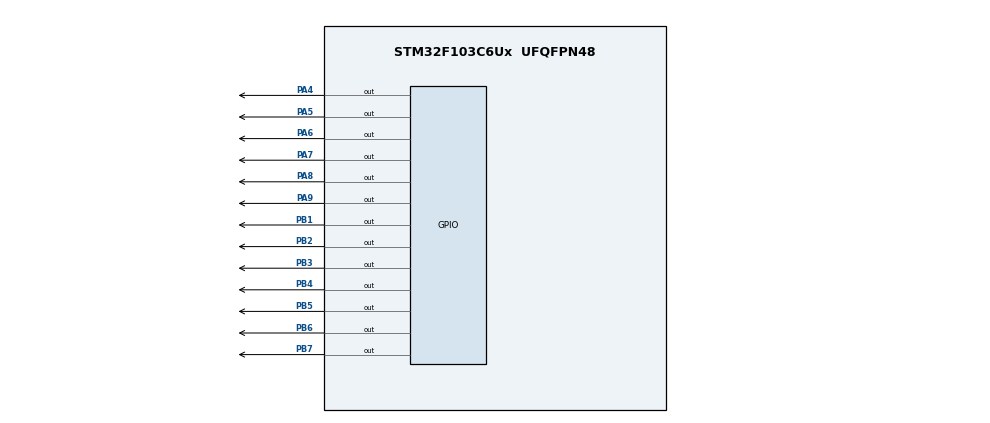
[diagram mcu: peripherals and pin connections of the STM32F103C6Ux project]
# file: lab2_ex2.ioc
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Mcu.Family=STM32F1
Mcu.Name=STM32F103C6Ux
Mcu.Package=UFQFPN48
NVIC.PriorityGroup=NVIC_PRIORITYGROUP_4
NVIC.TIM2_IRQn=true\:0\:0\:false\:false\:true\:true\:true
PA4.Signal=GPIO_Output
PA5.Signal=GPIO_Output
PA6.Signal=GPIO_Output
PA7.Signal=GPIO_Output
PA8.Signal=GPIO_Output
PA9.Signal=GPIO_Output
PB1.Signal=GPIO_Output
PB2.Signal=GPIO_Output
PB3.Signal=GPIO_Output
PB4.Signal=GPIO_Output
PB5.Signal=GPIO_Output
PB6.Signal=GPIO_Output
PB7.Signal=GPIO_Output
ProjectManager.HeapSize=0x200
ProjectManager.StackSize=0x400
ProjectManager.TargetToolchain=STM32CubeIDE
RCC.APB1Freq_Value=8000000
RCC.APB2Freq_Value=8000000
TIM2.Period=9
TIM2.Prescaler=7999
VP_SYS_VS_ND.Mode=No_Debug
VP_TIM2_VS_ClockSourceINT.Mode=Internal
board=custom

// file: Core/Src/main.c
/* USER CODE BEGIN Header */
/**
  ******************************************************************************
  * @file           : main.c
  * @brief          : Main program body
  ******************************************************************************
  * @attention
  *
  * <h2><center>&copy; Copyright (c) 2022 STMicroelectronics.
  * All rights reserved.</center></h2>
  *
  * This software component is licensed by ST under BSD 3-Clause license,
  * the "License"; You may not use this file except in compliance with the
  * License. You may obtain a copy of the License at:
  *                        opensource.org/licenses/BSD-3-Clause
  *
  ******************************************************************************
  */
/* USER CODE END Header */
#include "main.h"

TIM_HandleTypeDef htim2;

void SystemClock_Config(void);
static void MX_GPIO_Init(void);
static void MX_TIM2_Init(void);

int main(void)
{

  /* MCU Configuration--------------------------------------------------------*/

  /* Reset of all peripherals, Initializes the Flash interface and the Systick. */
  HAL_Init();

  /* Configure the system clock */
  SystemClock_Config();

  /* Initialize all configured peripherals */
  MX_GPIO_Init();
  MX_TIM2_Init();

  /* USER CODE BEGIN 2 */
  HAL_TIM_Base_Start_IT (& htim2 );
  /* USER CODE END 2 */

  /* Infinite loop */
  while (1)
  {

  }
}

void SystemClock_Config(void)
{
  RCC_OscInitTypeDef RCC_OscInitStruct = {0};
  RCC_ClkInitTypeDef RCC_ClkInitStruct = {0};

  /** Initializes the RCC Oscillators according to the specified parameters
  * in the RCC_OscInitTypeDef structure.
  */
  RCC_OscInitStruct.OscillatorType = RCC_OSCILLATORTYPE_HSI;
  RCC_OscInitStruct.HSIState = RCC_HSI_ON;
  RCC_OscInitStruct.HSICalibrationValue = RCC_HSICALIBRATION_DEFAULT;
  RCC_OscInitStruct.PLL.PLLState = RCC_PLL_NONE;
  if (HAL_RCC_OscConfig(&RCC_OscInitStruct) != HAL_OK)
  {
    Error_Handler();
  }
  /** Initializes the CPU, AHB and APB buses clocks
  */
  RCC_ClkInitStruct.ClockType = RCC_CLOCKTYPE_HCLK|RCC_CLOCKTYPE_SYSCLK
                              |RCC_CLOCKTYPE_PCLK1|RCC_CLOCKTYPE_PCLK2;
  RCC_ClkInitStruct.SYSCLKSource = RCC_SYSCLKSOURCE_HSI;
  RCC_ClkInitStruct.AHBCLKDivider = RCC_SYSCLK_DIV1;
  RCC_ClkInitStruct.APB1CLKDivider = RCC_HCLK_DIV1;
  RCC_ClkInitStruct.APB2CLKDivider = RCC_HCLK_DIV1;

  if (HAL_RCC_ClockConfig(&RCC_ClkInitStruct, FLASH_LATENCY_0) != HAL_OK)
  {
    Error_Handler();
  }
}

static void MX_TIM2_Init(void)
{

  TIM_ClockConfigTypeDef sClockSourceConfig = {0};
  TIM_MasterConfigTypeDef sMasterConfig = {0};

  htim2.Instance = TIM2;
  htim2.Init.Prescaler = 7999;
  htim2.Init.CounterMode = TIM_COUNTERMODE_UP;
  htim2.Init.Period = 9;
  htim2.Init.ClockDivision = TIM_CLOCKDIVISION_DIV1;
  htim2.Init.AutoReloadPreload = TIM_AUTORELOAD_PRELOAD_DISABLE;
  if (HAL_TIM_Base_Init(&htim2) != HAL_OK)
  {
    Error_Handler();
  }
  sClockSourceConfig.ClockSource = TIM_CLOCKSOURCE_INTERNAL;
  if (HAL_TIM_ConfigClockSource(&htim2, &sClockSourceConfig) != HAL_OK)
  {
    Error_Handler();
  }
  sMasterConfig.MasterOutputTrigger = TIM_TRGO_RESET;
  sMasterConfig.MasterSlaveMode = TIM_MASTERSLAVEMODE_DISABLE;
  if (HAL_TIMEx_MasterConfigSynchronization(&htim2, &sMasterConfig) != HAL_OK)
  {
    Error_Handler();
  }

}

static void MX_GPIO_Init(void)
{
  GPIO_InitTypeDef GPIO_InitStruct = {0};

  /* GPIO Ports Clock Enable */
  __HAL_RCC_GPIOA_CLK_ENABLE();
  __HAL_RCC_GPIOB_CLK_ENABLE();

  /*Configure GPIO pin Output Level */
  HAL_GPIO_WritePin(GPIOA, GPIO_PIN_4|GPIO_PIN_5|GPIO_PIN_6|GPIO_PIN_7
                          |GPIO_PIN_8|GPIO_PIN_9, GPIO_PIN_RESET);

  /*Configure GPIO pin Output Level */
  HAL_GPIO_WritePin(GPIOB, GPIO_PIN_1|GPIO_PIN_2|GPIO_PIN_3|GPIO_PIN_4
                          |GPIO_PIN_5|GPIO_PIN_6|GPIO_PIN_7, GPIO_PIN_RESET);

  /*Configure GPIO pins : PA4 PA5 PA6 PA7
                           PA8 PA9 */
  GPIO_InitStruct.Pin = GPIO_PIN_4|GPIO_PIN_5|GPIO_PIN_6|GPIO_PIN_7
                          |GPIO_PIN_8|GPIO_PIN_9;
  GPIO_InitStruct.Mode = GPIO_MODE_OUTPUT_PP;
  GPIO_InitStruct.Pull = GPIO_NOPULL;
  GPIO_InitStruct.Speed = GPIO_SPEED_FREQ_LOW;
  HAL_GPIO_Init(GPIOA, &GPIO_InitStruct);

  /*Configure GPIO pins : PB1 PB2 PB3 PB4
                           PB5 PB6 PB7 */
  GPIO_InitStruct.Pin = GPIO_PIN_1|GPIO_PIN_2|GPIO_PIN_3|GPIO_PIN_4
                          |GPIO_PIN_5|GPIO_PIN_6|GPIO_PIN_7;
  GPIO_InitStruct.Mode = GPIO_MODE_OUTPUT_PP;
  GPIO_InitStruct.Pull = GPIO_NOPULL;
  GPIO_InitStruct.Speed = GPIO_SPEED_FREQ_LOW;
  HAL_GPIO_Init(GPIOB, &GPIO_InitStruct);

}

/* USER CODE BEGIN 4 */
void display7SEG (int num){
	switch (num){
	case 0 : {
		 HAL_GPIO_WritePin (GPIOB , GPIO_PIN_1 , GPIO_PIN_RESET );
			  	  HAL_GPIO_WritePin (GPIOB , GPIO_PIN_2 , GPIO_PIN_RESET );
			  	  HAL_GPIO_WritePin (GPIOB , GPIO_PIN_3 , GPIO_PIN_RESET );
			  	  HAL_GPIO_WritePin (GPIOB , GPIO_PIN_4 , GPIO_PIN_RESET );
			  	  HAL_GPIO_WritePin (GPIOB , GPIO_PIN_5 , GPIO_PIN_RESET );
			  	  HAL_GPIO_WritePin (GPIOB , GPIO_PIN_6 , GPIO_PIN_RESET );
			  	  HAL_GPIO_WritePin (GPIOB , GPIO_PIN_7 , GPIO_PIN_SET );

		break;
	}
	case 1 :{
		  HAL_GPIO_WritePin (GPIOB , GPIO_PIN_1 , GPIO_PIN_SET );
			  	 HAL_GPIO_WritePin (GPIOB , GPIO_PIN_2 , GPIO_PIN_RESET );
			  	 HAL_GPIO_WritePin (GPIOB , GPIO_PIN_3 , GPIO_PIN_RESET );
			  	 HAL_GPIO_WritePin (GPIOB , GPIO_PIN_4 , GPIO_PIN_SET );
			  	 HAL_GPIO_WritePin (GPIOB , GPIO_PIN_5 , GPIO_PIN_SET );
			  	 HAL_GPIO_WritePin (GPIOB , GPIO_PIN_6 , GPIO_PIN_SET );
			  	 HAL_GPIO_WritePin (GPIOB , GPIO_PIN_7 , GPIO_PIN_SET );
		break;
	}
	case 2  :{
		HAL_GPIO_WritePin (GPIOB , GPIO_PIN_1 , GPIO_PIN_RESET );
	  	 HAL_GPIO_WritePin (GPIOB , GPIO_PIN_2 , GPIO_PIN_RESET );
	  	 HAL_GPIO_WritePin (GPIOB , GPIO_PIN_3 , GPIO_PIN_SET );
	  	 HAL_GPIO_WritePin (GPIOB , GPIO_PIN_4 , GPIO_PIN_RESET );
	  	 HAL_GPIO_WritePin (GPIOB , GPIO_PIN_5 , GPIO_PIN_RESET );
	  	 HAL_GPIO_WritePin (GPIOB , GPIO_PIN_6 , GPIO_PIN_SET );
	  	 HAL_GPIO_WritePin (GPIOB , GPIO_PIN_7 , GPIO_PIN_RESET );
		break;}
	case 3 :{
		 HAL_GPIO_WritePin (GPIOB , GPIO_PIN_1 , GPIO_PIN_RESET );
		  	  	 	 HAL_GPIO_WritePin (GPIOB , GPIO_PIN_2 , GPIO_PIN_RESET );
		  	  	 	 HAL_GPIO_WritePin (GPIOB , GPIO_PIN_3 , GPIO_PIN_RESET );
		  	  	 	 HAL_GPIO_WritePin (GPIOB , GPIO_PIN_4 , GPIO_PIN_RESET );
		  	  	 	 HAL_GPIO_WritePin (GPIOB , GPIO_PIN_5 , GPIO_PIN_SET );
		  	  	 	 HAL_GPIO_WritePin (GPIOB , GPIO_PIN_6 , GPIO_PIN_SET );
		  	  	 	 HAL_GPIO_WritePin (GPIOB , GPIO_PIN_7 , GPIO_PIN_RESET );

		break;}
	case 4  :{
		HAL_GPIO_WritePin (GPIOB , GPIO_PIN_1 , GPIO_PIN_SET );
			  	  	 		 	 HAL_GPIO_WritePin (GPIOB , GPIO_PIN_2 , GPIO_PIN_RESET );
			  	  	 		 	 HAL_GPIO_WritePin (GPIOB , GPIO_PIN_3 , GPIO_PIN_RESET );
			  	  	 		 	 HAL_GPIO_WritePin (GPIOB , GPIO_PIN_4 , GPIO_PIN_SET );
			  	  	 		 	 HAL_GPIO_WritePin (GPIOB , GPIO_PIN_5 , GPIO_PIN_SET );
			  	  	 		 	 HAL_GPIO_WritePin (GPIOB , GPIO_PIN_6 , GPIO_PIN_RESET );
			  	  	 		 	 HAL_GPIO_WritePin (GPIOB , GPIO_PIN_7 , GPIO_PIN_RESET );
			  	  	 	HAL_Delay(1000);
		break;}
	case 5  :{
		 HAL_GPIO_WritePin (GPIOB , GPIO_PIN_1 , GPIO_PIN_RESET );
			  	  		 		 	 HAL_GPIO_WritePin (GPIOB , GPIO_PIN_2 , GPIO_PIN_SET );
			  	  		 		 	 HAL_GPIO_WritePin (GPIOB , GPIO_PIN_3 , GPIO_PIN_RESET );
			  	  		 		 	 HAL_GPIO_WritePin (GPIOB , GPIO_PIN_4 , GPIO_PIN_RESET );
			  	  		 		 	 HAL_GPIO_WritePin (GPIOB , GPIO_PIN_5 , GPIO_PIN_SET );
			  	  		 		 	 HAL_GPIO_WritePin (GPIOB , GPIO_PIN_6 , GPIO_PIN_RESET );
			  	  		 		 	 HAL_GPIO_WritePin (GPIOB , GPIO_PIN_7 , GPIO_PIN_RESET );
			  	  		 		 	 HAL_Delay(1000);

		break;}
	case 6  :{
		 HAL_GPIO_WritePin (GPIOB , GPIO_PIN_1 , GPIO_PIN_RESET );
			  	  	 	 HAL_GPIO_WritePin (GPIOB , GPIO_PIN_2 , GPIO_PIN_SET );
			  	  	 	HAL_GPIO_WritePin (GPIOB , GPIO_PIN_3 , GPIO_PIN_RESET );
			  	  	 		 	 HAL_GPIO_WritePin (GPIOB , GPIO_PIN_4 , GPIO_PIN_RESET );
			  	  	 		 	 HAL_GPIO_WritePin (GPIOB , GPIO_PIN_5 , GPIO_PIN_RESET );
			  	  	 		 	 HAL_GPIO_WritePin (GPIOB , GPIO_PIN_6 , GPIO_PIN_RESET );
			  	  	 		 	 HAL_GPIO_WritePin (GPIOB , GPIO_PIN_7 , GPIO_PIN_RESET );
			  	  	 		 	 HAL_Delay(1000);
		break;}
	case 7  :{
		 HAL_GPIO_WritePin (GPIOB, GPIO_PIN_1 , GPIO_PIN_RESET );
			  	  	 			 	 HAL_GPIO_WritePin (GPIOB, GPIO_PIN_2 , GPIO_PIN_RESET );
			  	  	 			 	 HAL_GPIO_WritePin (GPIOB , GPIO_PIN_3 , GPIO_PIN_RESET );
			  	  	 			 	 HAL_GPIO_WritePin (GPIOB , GPIO_PIN_4 , GPIO_PIN_SET );
			  	  	 			 	 HAL_GPIO_WritePin (GPIOB , GPIO_PIN_5 , GPIO_PIN_SET );
			  	  	 			 	 HAL_GPIO_WritePin (GPIOB , GPIO_PIN_6 , GPIO_PIN_SET );
			  	  	 			 	 HAL_GPIO_WritePin (GPIOB , GPIO_PIN_7 , GPIO_PIN_SET );
			  	  	 			 	 HAL_Delay(1000);
		break;}
	case 8  :{
		 HAL_GPIO_WritePin (GPIOB , GPIO_PIN_1 , GPIO_PIN_RESET );
			  	  	 				 	 HAL_GPIO_WritePin (GPIOB , GPIO_PIN_2 , GPIO_PIN_RESET );
			  	  	 				 	 HAL_GPIO_WritePin (GPIOB , GPIO_PIN_3 , GPIO_PIN_RESET );
			  	  	 				 	 HAL_GPIO_WritePin (GPIOB , GPIO_PIN_4 , GPIO_PIN_RESET );
			  	  	 				 	 HAL_GPIO_WritePin (GPIOB , GPIO_PIN_5 , GPIO_PIN_RESET );
			  	  	 				 	 HAL_GPIO_WritePin (GPIOB , GPIO_PIN_6 , GPIO_PIN_RESET );
			  	  	 				 	 HAL_GPIO_WritePin (GPIOB , GPIO_PIN_7 , GPIO_PIN_RESET );
			  	  	 				 	 HAL_Delay(1000);
		break;}
	case 9 :{
		 HAL_GPIO_WritePin (GPIOB , GPIO_PIN_1 , GPIO_PIN_RESET );
			  	  	 					 	 HAL_GPIO_WritePin (GPIOB , GPIO_PIN_2 , GPIO_PIN_RESET );
			  	  	 					 	 HAL_GPIO_WritePin (GPIOB , GPIO_PIN_3 , GPIO_PIN_RESET );
			  	  	 					 	 HAL_GPIO_WritePin (GPIOB , GPIO_PIN_4 , GPIO_PIN_SET );
			  	  	 					 	 HAL_GPIO_WritePin (GPIOB , GPIO_PIN_5 , GPIO_PIN_SET );
			  	  	 					 	 HAL_GPIO_WritePin (GPIOB , GPIO_PIN_6 , GPIO_PIN_RESET );
			  	  	 					 	 HAL_GPIO_WritePin (GPIOB , GPIO_PIN_7 , GPIO_PIN_RESET );
			  	  	 					 	 HAL_Delay(1000);

			  	  	 					 break;}
	default :{break;}

	}
}

int counter =400;
void HAL_TIM_PeriodElapsedCallback ( TIM_HandleTypeDef * htim )
{
	counter--;
if ( counter >= 301 && counter <=400){
	 HAL_GPIO_WritePin (GPIOA , GPIO_PIN_7 , GPIO_PIN_SET );
	 HAL_GPIO_WritePin (GPIOA , GPIO_PIN_6 , GPIO_PIN_RESET );
	 HAL_GPIO_WritePin (GPIOA , GPIO_PIN_8 , GPIO_PIN_SET );
	 HAL_GPIO_WritePin (GPIOA , GPIO_PIN_9 , GPIO_PIN_SET );
	display7SEG(1);
}
if (counter >= 201 && counter <= 300){
	 HAL_GPIO_WritePin (GPIOA , GPIO_PIN_7 , GPIO_PIN_RESET );
	 HAL_GPIO_WritePin (GPIOA , GPIO_PIN_6 , GPIO_PIN_SET );
	 HAL_GPIO_WritePin (GPIOA , GPIO_PIN_8 , GPIO_PIN_SET );
	 HAL_GPIO_WritePin (GPIOA , GPIO_PIN_9 , GPIO_PIN_SET );
	 HAL_GPIO_WritePin(GPIOA, GPIO_PIN_4, GPIO_PIN_RESET);
	display7SEG(2);}
if (counter >= 101 && counter <= 200){
		HAL_GPIO_WritePin (GPIOA , GPIO_PIN_7 , GPIO_PIN_SET );
			 HAL_GPIO_WritePin (GPIOA , GPIO_PIN_6 , GPIO_PIN_SET );
			 HAL_GPIO_WritePin (GPIOA , GPIO_PIN_8 , GPIO_PIN_RESET );
			 HAL_GPIO_WritePin (GPIOA , GPIO_PIN_9 , GPIO_PIN_SET );
			display7SEG(3);
	}
	if (counter >= 1 && counter <= 100){

		HAL_GPIO_WritePin (GPIOA , GPIO_PIN_7 , GPIO_PIN_SET );
			 HAL_GPIO_WritePin (GPIOA , GPIO_PIN_6 , GPIO_PIN_SET );
			 HAL_GPIO_WritePin (GPIOA , GPIO_PIN_8 , GPIO_PIN_SET );
			 HAL_GPIO_WritePin (GPIOA , GPIO_PIN_9 , GPIO_PIN_RESET );
			display7SEG(0);
			HAL_GPIO_WritePin(GPIOA, GPIO_PIN_4, GPIO_PIN_SET);

	}
	if (counter <= 0){	counter = 400;}
}

/* USER CODE END 4 */

void Error_Handler(void)
{
  __disable_irq();
  while (1)
  {
  }
}

/************************ (C) COPYRIGHT STMicroelectronics *****END OF FILE****/
